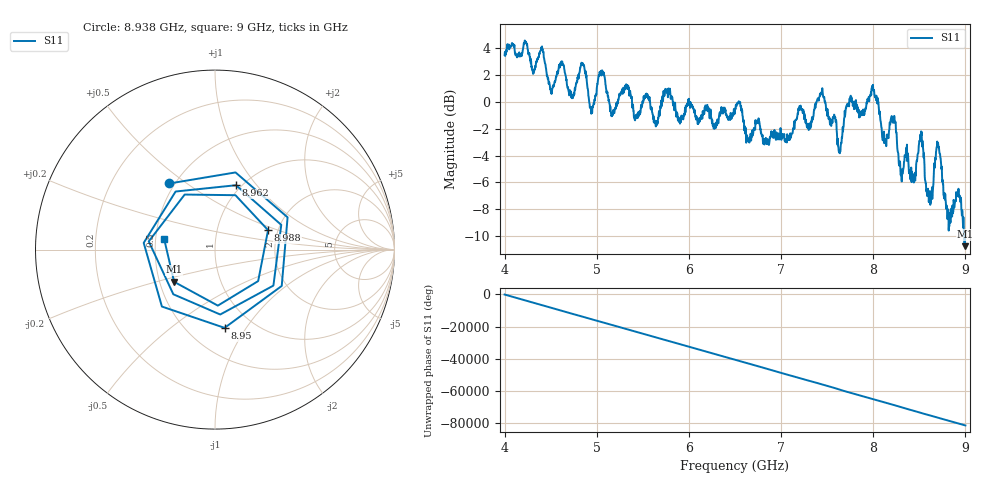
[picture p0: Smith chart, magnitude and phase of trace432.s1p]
! Created with skrf 1.8.0 (http://scikit-rf.org).
# Hz S RI R 50.0
!freq ReS11 ImS11
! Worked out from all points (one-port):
!   1601 points, 4 GHz to 9 GHz, reference 50 ohm
!   lowest |S11| = -10.8 dB at 8.997 GHz (marker M1), VSWR 1.82, Z = 29.7 - j11.7 ohm
!   |S11| at or under -10 dB: 8.987389 GHz to end of sweep
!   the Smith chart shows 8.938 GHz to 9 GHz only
!   S11 on the Smith chart (normalised r, x): 8.938 GHz: 0.47, +0.43; 8.95 GHz: 0.74, -0.80; 8.962 GHz: 0.94, +0.79; 8.988 GHz: 1.77, +0.43; 9 GHz: 0.55, +0.07
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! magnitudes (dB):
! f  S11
! 4 GHz  3.5
! 4.625 GHz  3.0
! 4.725 GHz  0.3
! 4.853 GHz  2.7
! 4.941 GHz  -0.9
! 5.053 GHz  2.2
! 5.169 GHz  -0.8
! 5.25 GHz  0.5
! 5.875 GHz  -0.9
! 6.5 GHz  -0.5
! 7.125 GHz  -2.3
! 7.444 GHz  0.6
! 7.638 GHz  -3.8
! 7.75 GHz  0.1
! 8 GHz  0.8
! 8.119 GHz  -3.1
! 8.216 GHz  -1.6
! 8.375 GHz  -3.8
! 8.519 GHz  -2.2
! 8.622 GHz  -6.7
! 8.706 GHz  -3.3
! 8.816 GHz  -8.1
! 8.938 GHz  -7.0
! 8.95 GHz  -7.1
! 8.962 GHz  -8.5
! 8.988 GHz  -10.0
! 8.997 GHz  -10.8
! 9 GHz  -10.7
